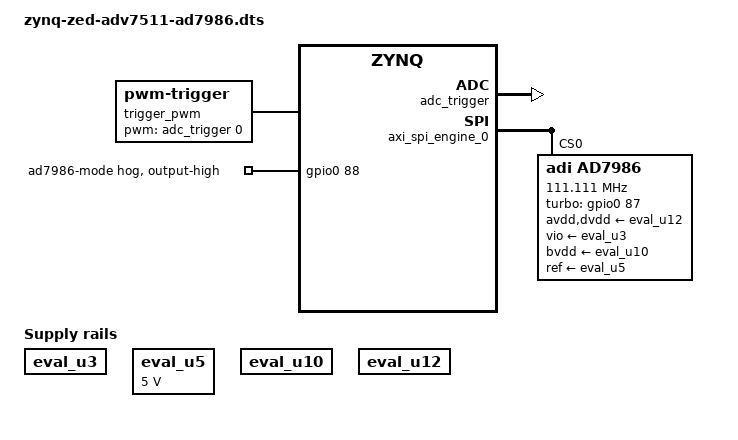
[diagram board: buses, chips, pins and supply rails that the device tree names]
// SPDX-License-Identifier: GPL-2.0
/*
 * Analog Devices EVAL-AD7986FMCZ
 * https://www.analog.com/en/products/ad7986.html
 *
 * hdl_project: <pulsar_adc/zed>
 * Link: https://github.com/analogdevicesinc/hdl/tree/main/projects/pulsar_adc
 * board_revision: <>
 *
 * Copyright (C) 2024 Analog Devices Inc.
 */
/dts-v1/;

#include <dt-bindings/gpio/gpio.h>
#include <dt-bindings/interrupt-controller/irq.h>

#include "zynq-zed.dtsi"
#include "zynq-zed-adv7511.dtsi"

/ {
	eval_u3: eval-board-u3-regulator {
		compatible = "regulator-fixed";
		regulator-name = "EVAL +2.5V supply (U3)";
		regulator-always-on;
	};

	eval_u5: eval-board-u5-regulator {
		compatible = "regulator-fixed";
		regulator-name = "EVAL +5V supply (U5)";
		regulator-min-microvolt = <5000000>;
		regulator-max-microvolt = <5000000>;
		regulator-always-on;
	};

	eval_u10: eval-board-u10-regulator {
		compatible = "regulator-fixed";
		regulator-name = "EVAL +5V supply (U10)";
		regulator-always-on;
	};

	eval_u12: eval-board-u12-regulator {
		compatible = "regulator-fixed";
		regulator-name = "EVAL +2.5V supply (U12)";
		regulator-always-on;
	};

	trigger_pwm: adc-pwm-trigger {
		compatible = "pwm-trigger";
		#trigger-source-cells = <0>;
		pwms = <&adc_trigger 0 10000 0>;
	};
};

&fpga_axi {
	adc_trigger: pwm@44b00000 {
		compatible = "adi,axi-pwmgen-2.00.a";
		reg = <0x44b00000 0x1000>;
		#pwm-cells = <2>;
		clocks = <&spi_clk>;
	};

	rx_dma: rx-dmac@44a30000 {
		compatible = "adi,axi-dmac-1.00.a";
		reg = <0x44a30000 0x1000>;
		#dma-cells = <1>;
		interrupts = <0 57 IRQ_TYPE_LEVEL_HIGH>;
		clocks = <&clkc 17>;
	};

	spi_clk: clock-controller@44a70000 {
		compatible = "adi,axi-clkgen-2.00.a";
		reg = <0x44a70000 0x1000>;
		#clock-cells = <0>;
		clocks = <&clkc 15>, <&clkc 15>;
		clock-names = "clkin1", "s_axi_aclk";
		clock-output-names = "spi_clk";

		/*
		 * Set to 2x max SCLK. Also need to consider SPI Engine extra
		 * cycles for instructions.
		 */
		assigned-clocks = <&spi_clk>;
		assigned-clock-rates = <200000000>;
	};

	axi_spi_engine_0: spi@44a00000 {
		compatible = "adi,axi-spi-engine-1.00.a";
		reg = <0x44a00000 0x1000>;
		interrupt-parent = <&intc>;
		interrupts = <0 56 IRQ_TYPE_LEVEL_HIGH>;
		clocks = <&clkc 15>, <&spi_clk>;
		clock-names = "s_axi_aclk", "spi_clk";

		dmas = <&rx_dma 0>;
		dma-names = "offload0-rx";
		trigger-sources = <&trigger_pwm>;

		#address-cells = <1>;
		#size-cells = <0>;

		ad7986: adc@0 {
			compatible = "adi,ad7986";
			reg = <0>;
			spi-max-frequency = <111111111>; /* 9 ns period */
			adi,spi-mode = "single";
			avdd-supply = <&eval_u12>;
			dvdd-supply = <&eval_u12>;
			vio-supply = <&eval_u3>;
			bvdd-supply = <&eval_u10>;
			ref-supply = <&eval_u5>;
			turbo-gpios = <&gpio0 87 GPIO_ACTIVE_HIGH>;
		};
	};
};

&gpio0 {
	ad7986-mode {
		/* pull SDI line on ADC high for 3-wire mode */
		gpio-hog;
		gpios = <88 GPIO_ACTIVE_HIGH>;
		output-high;
	};
};
